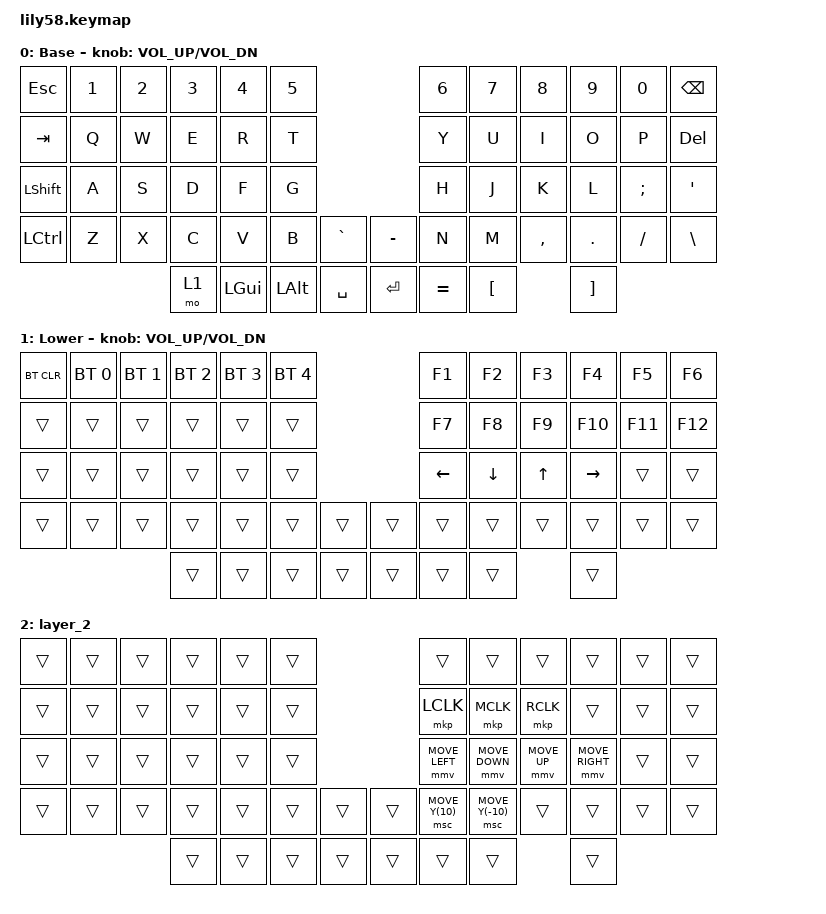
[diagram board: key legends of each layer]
/*
 * Copyright (c) 2020 The ZMK Contributors
 *
 * SPDX-License-Identifier: MIT
 */

#include <behaviors.dtsi>
#include <dt-bindings/zmk/bt.h>
#include <dt-bindings/zmk/keys.h>
#include <dt-bindings/zmk/pointing.h>

/ {
    keymap {
        compatible = "zmk,keymap";

        default_layer {
            // ------------------------------------------------------------------------------------------------------------
            // |  ESC  |  1  |  2  |  3   |  4   |  5   |                   |  6   |  7    |  8    |  9   |   0   |   `   |
            // |  TAB  |  Q  |  W  |  E   |  R   |  T   |                   |  Y   |  U    |  I    |  O   |   P   |   -   |
            // |  CTRL |  A  |  S  |  D   |  F   |  G   |                   |  H   |  J    |  K    |  L   |   ;   |   '   |
            // | SHIFT |  Z  |  X  |  C   |  V   |  B   |   "["  |  |  "]"  |  N   |  M    |  ,    |  .   |   /   | SHIFT |
            //                     | ALT  | GUI  | LOWER|  SPACE |  | ENTER | RAISE| BSPC  | GUI   |

            display-name = "Base";
            bindings = <
&kp ESC    &kp N1  &kp N2  &kp N3    &kp N4    &kp N5                            &kp N6     &kp N7  &kp N8     &kp N9      &kp N0         &kp BACKSPACE
&kp TAB    &kp Q   &kp W   &kp E     &kp R     &kp T                             &kp Y      &kp U   &kp I      &kp O       &kp P          &kp DELETE
&kp LSHFT  &kp A   &kp S   &kp D     &kp F     &kp G                             &kp H      &kp J   &kp K      &kp L       &kp SEMICOLON  &kp SINGLE_QUOTE
&kp LCTRL  &kp Z   &kp X   &kp C     &kp V     &kp B     &kp GRAVE    &kp MINUS  &kp N      &kp M   &kp COMMA  &kp PERIOD  &kp SLASH      &kp BSLH
                           &mo 1     &kp LGUI  &kp LALT  &kp SPACE    &kp RET    &kp EQUAL  &kp LEFT_BRACKET   &kp RIGHT_BRACKET
            >;

            sensor-bindings = <&inc_dec_kp C_VOL_UP C_VOL_DN>;
        };

        lower_layer {
            // ------------------------------------------------------------------------------------------------------------
            // | BTCLR | BT1 | BT2 |  BT3 |  BT4 |  BT5 |                   |      |       |       |      |       |       |
            // |  F1   |  F2 |  F3 |  F4  |  F5  |  F6  |                   |  F7  |  F8   |  F9   |  F10 |  F11  |  F12  |
            // |   `   |  !  |  @  |  #   |  $   |  %   |                   |  ^   |  &    |  *    |  (   |   )   |   ~   |
            // |       |     |     |      |      |      |        |  |       |      |  _    |  +    |  {   |   }   |  "|"  |
            //                     |      |      |      |        |  |       |      |       |       |

            display-name = "Lower";
            bindings = <
&bt BT_CLR   &bt BT_SEL 0  &bt BT_SEL 1  &bt BT_SEL 2  &bt BT_SEL 3  &bt BT_SEL 4                    &kp F1          &kp F2          &kp F3        &kp F4           &kp F5   &kp F6
&trans       &trans        &trans        &trans        &trans        &trans                          &kp F7          &kp F8          &kp F9        &kp F10          &kp F11  &kp F12
&trans       &trans        &trans        &trans        &trans        &trans                          &kp LEFT_ARROW  &kp DOWN_ARROW  &kp UP_ARROW  &kp RIGHT_ARROW  &trans   &trans
&trans       &trans        &trans        &trans        &trans        &trans        &trans    &trans  &trans          &trans          &trans        &trans           &trans   &trans
                                         &trans        &trans        &trans        &trans    &trans  &trans          &trans          &trans
            >;

            sensor-bindings = <&inc_dec_kp C_VOL_UP C_VOL_DN>;
        };

        layer_2 {
            bindings = <
&trans  &trans  &trans  &trans  &trans  &trans                    &trans           &trans            &trans        &trans           &trans  &trans
&trans  &trans  &trans  &trans  &trans  &trans                    &mkp LCLK        &mkp MCLK         &mkp RCLK     &trans           &trans  &trans
&trans  &trans  &trans  &trans  &trans  &trans                    &mmv MOVE_LEFT   &mmv MOVE_DOWN    &mmv MOVE_UP  &mmv MOVE_RIGHT  &trans  &trans
&trans  &trans  &trans  &trans  &trans  &trans  &trans    &trans  &msc MOVE_Y(10)  &msc MOVE_Y(-10)  &trans        &trans           &trans  &trans
                        &trans  &trans  &trans  &trans    &trans  &trans           &trans            &trans
            >;
        };
    };
};
